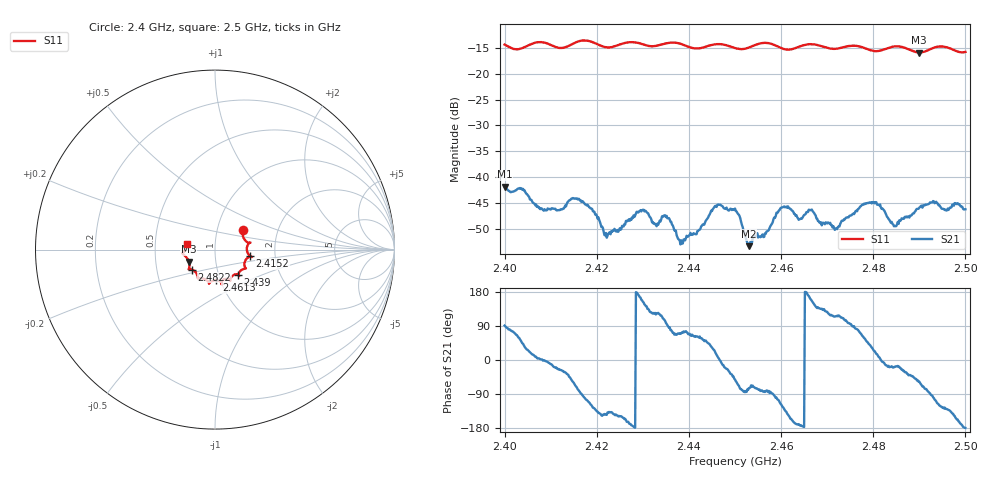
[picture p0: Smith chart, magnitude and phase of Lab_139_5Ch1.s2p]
# Hz S RI R 50
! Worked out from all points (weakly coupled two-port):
!   601 points, 2.4 GHz to 2.5 GHz, reference 50 ohm
!   highest |S21| = -41.85 dB at 2.4 GHz (marker M1); lowest = -53.3 dB at 2.453 GHz (marker M2)
!   lowest |S11| = -15.9 dB at 2.4898 GHz (marker M3), VSWR 1.38, Z = 37 - j5.04 ohm
!   |S11| at or under -10 dB: start of sweep to end of sweep
!   S12 and S22 are empty: the file has one direction only
!   S11 on the Smith chart (normalised r, x): 2.4 GHz: 1.33, +0.31; 2.4152 GHz: 1.48, -0.11; 2.439 GHz: 1.24, -0.36; 2.4613 GHz: 0.96, -0.34; 2.4822 GHz: 0.76, -0.17; 2.5 GHz: 0.72, +0.05
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2.4e9  0.1556 0.1107  -0.000109 0.00808  0 0  0 0
2.408667e9  0.1957 0.0393  0.0049 -8.42e-05  0 0  0 0
2.415167e9  0.1948 -0.0358  0.00273 -0.00556  0 0  0 0
2.416667e9  0.2045 -0.0417  8.08e-05 -0.00576  0 0  0 0
2.422e9  0.17 -0.0591  -0.00229 -0.00175  0 0  0 0
2.429667e9  0.1624 -0.1072  -0.00436 0.00166  0 0  0 0
2.433333e9  0.1325 -0.133  -0.00195 0.00286  0 0  0 0
2.435167e9  0.1323 -0.1458  -0.000359 0.00421  0 0  0 0
2.439e9  0.1275 -0.1391  0.000713 0.00239  0 0  0 0
2.446e9  0.0848 -0.1734  0.00501 0.00123  0 0  0 0
2.45e9  0.0686 -0.1633  0.00311 -0.00389  0 0  0 0
2.453e9  0.0386 -0.1748  0.000587 -0.00207  0 0  0 0
2.461333e9  0.00762 -0.1709  -0.00396 -0.00314  0 0  0 0
2.464e9  -0.0266 -0.1811  -0.00389 -0.000579  0 0  0 0
2.466667e9  -0.0332 -0.1901  -0.00445 0.00197  0 0  0 0
2.471667e9  -0.0615 -0.1626  -0.00128 0.00282  0 0  0 0
2.478167e9  -0.0974 -0.1474  0.00302 0.00458  0 0  0 0
2.482167e9  -0.1284 -0.1118  0.00486 -0.000485  0 0  0 0
2.483333e9  -0.1395 -0.1101  0.0038 -0.00105  0 0  0 0
2.485e9  -0.1471 -0.1103  0.00322 -0.00098  0 0  0 0
2.489833e9  -0.1458 -0.0665  0.00268 -0.00416  0 0  0 0
2.5e9  -0.1588 0.034  -0.00489 -7.2e-05  0 0  0 0
